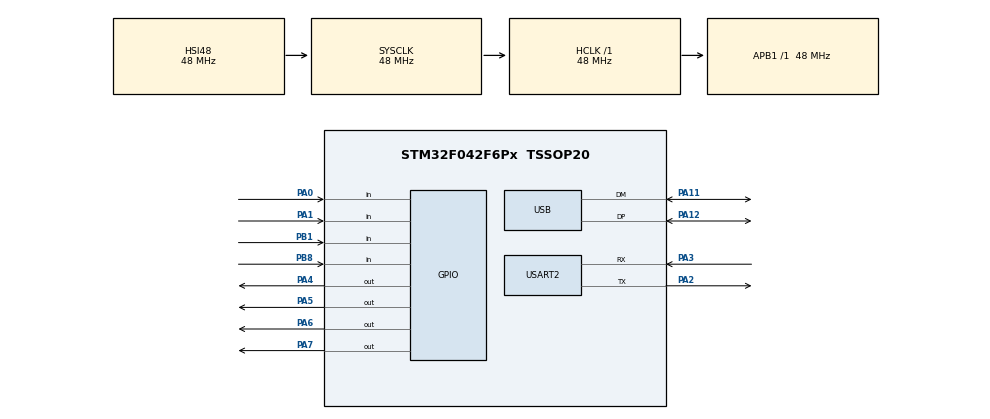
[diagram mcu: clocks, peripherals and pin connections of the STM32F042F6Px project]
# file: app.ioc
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Dma.MEMTOMEM.1.Direction=DMA_MEMORY_TO_MEMORY
Dma.MEMTOMEM.1.Instance=DMA1_Channel1
Dma.MEMTOMEM.1.MemDataAlignment=DMA_MDATAALIGN_BYTE
Dma.MEMTOMEM.1.MemInc=DMA_MINC_ENABLE
Dma.MEMTOMEM.1.Mode=DMA_NORMAL
Dma.MEMTOMEM.1.PeriphDataAlignment=DMA_PDATAALIGN_BYTE
Dma.MEMTOMEM.1.PeriphInc=DMA_PINC_ENABLE
Dma.MEMTOMEM.1.Priority=DMA_PRIORITY_LOW
Dma.MEMTOMEM.2.Direction=DMA_MEMORY_TO_MEMORY
Dma.MEMTOMEM.2.Instance=DMA1_Channel2
Dma.MEMTOMEM.2.MemDataAlignment=DMA_MDATAALIGN_BYTE
Dma.MEMTOMEM.2.MemInc=DMA_MINC_ENABLE
Dma.MEMTOMEM.2.Mode=DMA_NORMAL
Dma.MEMTOMEM.2.PeriphDataAlignment=DMA_PDATAALIGN_BYTE
Dma.MEMTOMEM.2.PeriphInc=DMA_PINC_ENABLE
Dma.MEMTOMEM.2.Priority=DMA_PRIORITY_LOW
Dma.Request0=USART2_RX
Dma.Request1=MEMTOMEM
Dma.Request2=MEMTOMEM
Dma.USART2_RX.0.Direction=DMA_PERIPH_TO_MEMORY
Dma.USART2_RX.0.Instance=DMA1_Channel5
Dma.USART2_RX.0.MemDataAlignment=DMA_MDATAALIGN_BYTE
Dma.USART2_RX.0.MemInc=DMA_MINC_ENABLE
Dma.USART2_RX.0.Mode=DMA_NORMAL
Dma.USART2_RX.0.PeriphDataAlignment=DMA_PDATAALIGN_BYTE
Dma.USART2_RX.0.PeriphInc=DMA_PINC_DISABLE
Dma.USART2_RX.0.Priority=DMA_PRIORITY_LOW
Mcu.Family=STM32F0
Mcu.Name=STM32F042F6Px
Mcu.Package=TSSOP20
NVIC.DMA1_Channel4_5_IRQn=true\:0\:0\:false\:false\:true\:false\:true\:true
NVIC.TIM3_IRQn=true\:0\:0\:false\:false\:true\:true\:true\:true
NVIC.USB_IRQn=true\:0\:0\:false\:false\:true\:false\:true\:true
PA0.Signal=GPIO_Input
PA1.Signal=GPIO_Input
PA11.Mode=Device
PA11.Signal=USB_DM
PA12.Mode=Device
PA12.Signal=USB_DP
PA13.Mode=Serial_Wire
PA13.Signal=SYS_SWDIO
PA14.Mode=Serial_Wire
PA14.Signal=SYS_SWCLK
PA2.Mode=Asynchronous
PA2.Signal=USART2_TX
PA3.Mode=Asynchronous
PA3.Signal=USART2_RX
PA4.Signal=GPIO_Output
PA5.Signal=GPIO_Output
PA6.Signal=GPIO_Output
PA7.Signal=GPIO_Output
PB1.Signal=GPIO_Input
PB8.Signal=GPIO_Input
ProjectManager.HeapSize=0x200
ProjectManager.StackSize=0x400
ProjectManager.TargetToolchain=STM32CubeIDE
RCC.AHBFreq_Value=48000000
RCC.APB1Freq_Value=48000000
RCC.APB1TimFreq_Value=48000000
RCC.HCLKFreq_Value=48000000
RCC.SYSCLKFreq_VALUE=48000000
RCC.SYSCLKSource=RCC_SYSCLKSOURCE_HSI48
RCC.USBFreq_Value=48000000
TIM3.AutoReloadPreload=TIM_AUTORELOAD_PRELOAD_ENABLE
TIM3.Period=48000
TIM3.Prescaler=50
USART2.VirtualMode-Asynchronous=VM_ASYNC
USB_DEVICE.APP_RX_DATA_SIZE=64
USB_DEVICE.APP_TX_DATA_SIZE=64
USB_DEVICE.CLASS_NAME_FS=CDC
USB_DEVICE.MANUFACTURER_STRING=OtterMeow
USB_DEVICE.PID_CDC_FS=0x7523
USB_DEVICE.PRODUCT_STRING_CDC_FS=CH340 Emulation
USB_DEVICE.USBD_MAX_NUM_INTERFACES=1
USB_DEVICE.USBD_MAX_STR_DESC_SIZ=64
USB_DEVICE.VID=0x1a86
USB_DEVICE.VirtualMode=Cdc
USB_DEVICE.VirtualModeFS=Cdc_FS
VP_SYS_VS_PINREMAP.Mode=PINREMAP
VP_TIM3_VS_ClockSourceINT.Mode=Internal
VP_USB_DEVICE_VS_USB_DEVICE_CDC_FS.Mode=CDC_FS
board=custom

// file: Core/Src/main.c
/* USER CODE BEGIN Header */
/**
 ******************************************************************************
 * @file           : main.c
 * @brief          : Main program body
 ******************************************************************************
 * @attention
 *
 * Copyright (c) 2024 STMicroelectronics.
 * All rights reserved.
 *
 * This software is licensed under terms that can be found in the LICENSE file
 * in the root directory of this software component.
 * If no LICENSE file comes with this software, it is provided AS-IS.
 *
 ******************************************************************************
 */
/* USER CODE END Header */
#include "main.h"
#include "dma.h"
#include "tim.h"
#include "usart.h"
#include "usb_device.h"
#include "gpio.h"

/* USER CODE BEGIN Includes */
#include "usbd_cdc_if.h"
/* USER CODE END Includes */

/* USER CODE BEGIN PV */
extern TIM_HandleTypeDef htim3;
uint8_t CDC_Rx_Buffer[64] = { 0 };
int rx_count = 0;
volatile uint8_t IO_Ctrl_Flag = 0x00;
/* USER CODE END PV */

void SystemClock_Config(void);
/* USER CODE BEGIN PFP */
void Enable_All_IOs();
void Disable_All_IOs();

/* USER CODE END PFP */

int main(void) {

	/* MCU Configuration--------------------------------------------------------*/

	/* Reset of all peripherals, Initializes the Flash interface and the Systick. */
	HAL_Init();

	/* Configure the system clock */
	SystemClock_Config();

	/* Initialize all configured peripherals */
	MX_GPIO_Init();
	MX_DMA_Init();
	MX_USART2_UART_Init();
	MX_USB_DEVICE_Init();
	MX_TIM3_Init();
	/* USER CODE BEGIN 2 */
	HAL_TIM_Base_Start_IT(&htim3);
	Enable_All_IOs();
	/* USER CODE END 2 */

	/* Infinite loop */
	/* USER CODE BEGIN WHILE */

	while (1) {
		if (HAL_DMA_PollForTransfer(&hdma_memtomem_dma1_channel1,
				HAL_DMA_FULL_TRANSFER, 100) == HAL_OK) {
			uint32_t temp = *((uint32_t*) CDC_Rx_Buffer);
			if (temp == 0xA20101A0) {
				Disable_All_IOs();
			} else if (temp == 0xA10001A0) {
				Enable_All_IOs();
			}
		}

		/* USER CODE END WHILE */

	}
}

void SystemClock_Config(void) {
	RCC_OscInitTypeDef RCC_OscInitStruct = { 0 };
	RCC_ClkInitTypeDef RCC_ClkInitStruct = { 0 };
	RCC_PeriphCLKInitTypeDef PeriphClkInit = { 0 };

	/** Initializes the RCC Oscillators according to the specified parameters
	 * in the RCC_OscInitTypeDef structure.
	 */
	RCC_OscInitStruct.OscillatorType = RCC_OSCILLATORTYPE_HSI48;
	RCC_OscInitStruct.HSI48State = RCC_HSI48_ON;
	RCC_OscInitStruct.PLL.PLLState = RCC_PLL_NONE;
	if (HAL_RCC_OscConfig(&RCC_OscInitStruct) != HAL_OK) {
		Error_Handler();
	}

	/** Initializes the CPU, AHB and APB buses clocks
	 */
	RCC_ClkInitStruct.ClockType = RCC_CLOCKTYPE_HCLK | RCC_CLOCKTYPE_SYSCLK
			| RCC_CLOCKTYPE_PCLK1;
	RCC_ClkInitStruct.SYSCLKSource = RCC_SYSCLKSOURCE_HSI48;
	RCC_ClkInitStruct.AHBCLKDivider = RCC_SYSCLK_DIV1;
	RCC_ClkInitStruct.APB1CLKDivider = RCC_HCLK_DIV1;

	if (HAL_RCC_ClockConfig(&RCC_ClkInitStruct, FLASH_LATENCY_1) != HAL_OK) {
		Error_Handler();
	}
	PeriphClkInit.PeriphClockSelection = RCC_PERIPHCLK_USB;
	PeriphClkInit.UsbClockSelection = RCC_USBCLKSOURCE_HSI48;

	if (HAL_RCCEx_PeriphCLKConfig(&PeriphClkInit) != HAL_OK) {
		Error_Handler();
	}
}

/* USER CODE BEGIN 4 */

void Enable_All_IOs() {

	IO_Ctrl_Flag = 0x11;

}

void Disable_All_IOs() {

	IO_Ctrl_Flag = 0x01;

}
/* USER CODE END 4 */

void Error_Handler(void) {
	__disable_irq();
	while (1) {
	}
}
